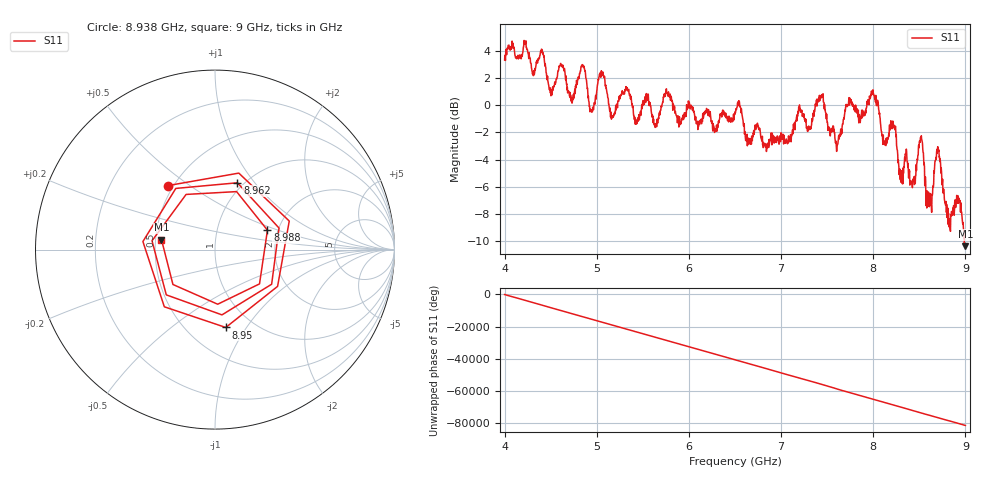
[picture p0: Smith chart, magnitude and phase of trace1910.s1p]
! Created with skrf 1.8.0 (http://scikit-rf.org).
# Hz S RI R 50.0
!freq ReS11 ImS11
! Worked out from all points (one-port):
!   1601 points, 4 GHz to 9 GHz, reference 50 ohm
!   lowest |S11| = -10.4 dB at 9 GHz (marker M1), VSWR 1.87, Z = 26.9 + j3.31 ohm
!   |S11| at or under -10 dB: 8.987419 GHz to end of sweep
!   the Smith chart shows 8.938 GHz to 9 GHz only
!   S11 on the Smith chart (normalised r, x): 8.938 GHz: 0.47, +0.42; 8.95 GHz: 0.75, -0.81; 8.962 GHz: 0.94, +0.82; 8.988 GHz: 1.76, +0.42; 9 GHz: 0.54, +0.07
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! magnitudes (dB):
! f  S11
! 4 GHz  3.3
! 4.406 GHz  4.0
! 4.506 GHz  0.7
! 4.625 GHz  2.9
! 4.728 GHz  0.5
! 4.853 GHz  2.8
! 4.944 GHz  -0.4
! 5.047 GHz  2.3
! 5.162 GHz  -0.9
! 5.25 GHz  0.5
! 5.875 GHz  -1.3
! 6.5 GHz  -0.5
! 7.125 GHz  -1.8
! 7.434 GHz  0.5
! 7.612 GHz  -2.9
! 7.75 GHz  0.3
! 8.003 GHz  0.8
! 8.375 GHz  -4.6
! 8.438 GHz  -5.6
! 8.519 GHz  -2.5
! 8.616 GHz  -7.4
! 8.703 GHz  -3.3
! 8.812 GHz  -8.7
! 8.938 GHz  -7.1
! 8.95 GHz  -7.2
! 8.962 GHz  -8.1
! 8.988 GHz  -10.1
! 9 GHz  -10.4
